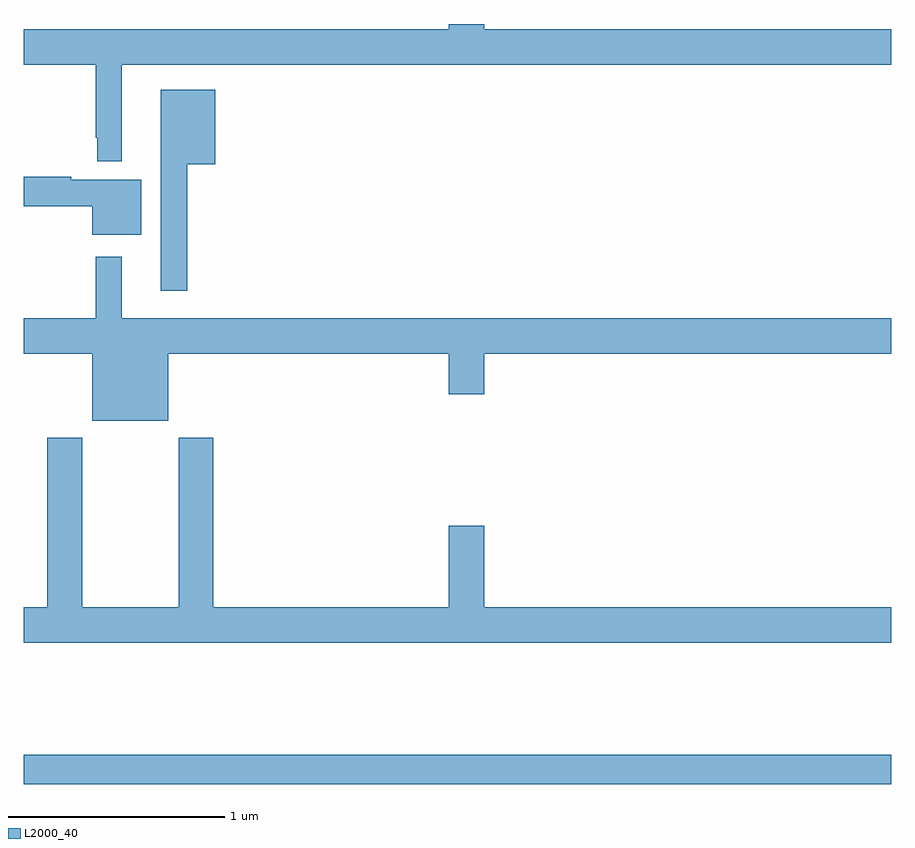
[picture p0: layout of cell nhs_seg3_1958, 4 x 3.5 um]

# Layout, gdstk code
import gdstk
lib = gdstk.Library(unit=1e-6, precision=1e-09)
def R(c, l, rs):  # rectangles x0, y0, x1, y1
    for r in rs: c.add(gdstk.rectangle(r[:2], r[2:], *l))
def P(c, l, *ps):  # polygons
    for p in ps: c.add(gdstk.Polygon(p, *l))
L2000_40 = (2000, 40)

nhs_seg3_1958 = lib.new_cell('nhs_seg3_1958')
R(nhs_seg3_1958, L2000_40, [(211,734.896,215,735.032)])
P(nhs_seg3_1958, L2000_40, [(211.453,738.212),(215,738.212),(215,738.376),(213.124,738.376),(213.124,738.4),(212.96,738.4),(212.96,738.376),(211,738.376),(211,738.212),(211.332,738.212),(211.332,737.875),(211.338,737.875),(211.338,737.768),(211.453,737.768)],
  [(211.753,737.753),(211.882,737.753),(211.882,738.097),(211.631,738.097),(211.631,737.169),(211.753,737.169)],
  [(211.543,737.683),(211.22,737.683),(211.22,737.696),(211,737.696),(211,737.56),(211.316,737.56),(211.316,737.429),(211.543,737.429)],
  [(211,736.88),(211.316,736.88),(211.316,736.571),(211.666,736.571),(211.666,736.88),(212.96,736.88),(212.96,736.692),(213.124,736.692),(213.124,736.88),(215,736.88),(215,737.044),(211.453,737.044),(211.453,737.326),(211.332,737.326),(211.332,737.044),(211,737.044)],
  [(215,735.712),(213.124,735.712),(213.124,736.087),(212.96,736.087),(212.96,735.712),(211.874,735.712),(211.874,736.492),(211.714,736.492),(211.714,735.712),(211.269,735.712),(211.269,736.492),(211.109,736.492),(211.109,735.712),(211,735.712),(211,735.548),(215,735.548)])

lib.write_gds('nhs_seg3_1958.gds')
